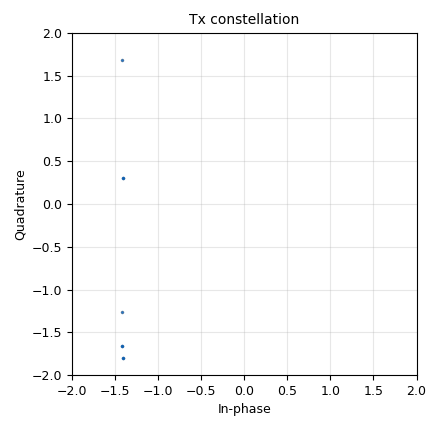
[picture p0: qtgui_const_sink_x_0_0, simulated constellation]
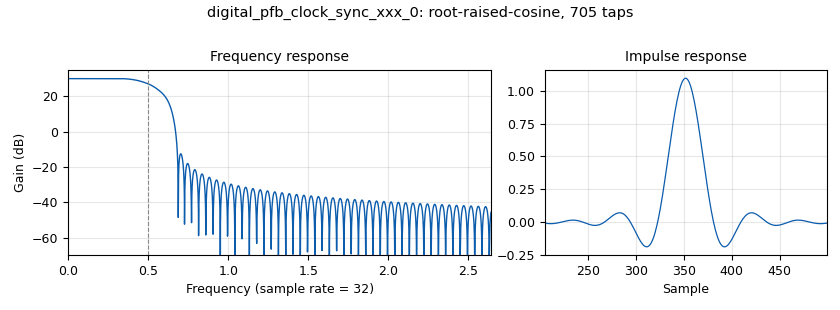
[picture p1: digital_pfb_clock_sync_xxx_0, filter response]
options:
  parameters:
    author: yabool2001
    copyright: mzemlo.pl@gmail.com
    description: QPSK demonstration test w. adalm-pluto
    generate_options: qt_gui
    id: QPSK_test_04_1
    output_language: python
    title: QPSK test 04_1 adalm-pluto
  states: {}

blocks:
- name: const_obj
  id: variable_constellation
  parameters:
    npwr: '0'
    precision: '8'
    type: qpsk
  states: {}
- name: f_o
  id: variable
  parameters:
    value: '820000000'
  states: {}
- name: nfilts
  id: variable
  parameters:
    value: '32'
  states: {}
- name: samp_rate
  id: variable
  parameters:
    value: '65105'
  states: {}
- name: sps
  id: variable
  parameters:
    value: '2'
  states: {}
- name: blocks_message_strobe_1
  id: blocks_message_strobe
  parameters:
    msg: pmt.cons ( pmt.PMT_NIL , pmt.make_u8vector ( 1 , 0x02 ) )
    period: '1000'
  states: {}
- name: blocks_repack_bits_bb_0
  id: blocks_repack_bits_bb
  parameters:
    align_output: 'True'
    endianness: gr.GR_LSB_FIRST
    k: '8'
    l: '2'
    len_tag_key: packet_len
  states: {}
- name: blocks_repack_bits_bb_1
  id: blocks_repack_bits_bb
  parameters:
    align_output: 'True'
    endianness: gr.GR_LSB_FIRST
    k: '2'
    l: '8'
    len_tag_key: packet_len
  states: {}
- name: blocks_stream_to_tagged_stream_0_0
  id: blocks_stream_to_tagged_stream
  parameters:
    len_tag_key: '"packet_len"'
    packet_len: '1'
    type: byte
  states: {}
- name: blocks_tag_debug_0
  id: blocks_tag_debug
  parameters:
    name: Modulator
    type: complex
  states: {}
- name: blocks_tag_debug_0_0
  id: blocks_tag_debug
  parameters:
    name: Constellation Decoder
    type: byte
  states: {}
- name: blocks_tag_debug_0_0_0
  id: blocks_tag_debug
  parameters:
    name: After Repack Bits Tx
    type: byte
  states: {}
- name: blocks_threshold_ff_0
  id: blocks_threshold_ff
  parameters:
    high: '100'
    init: '0'
    low: '-100'
  states: {state: disabled}
- name: blocks_throttle2_0
  id: blocks_throttle2
  parameters:
    samples_per_second: samp_rate
    type: complex
  states: {}
- name: digital_constellation_decoder_cb_1_0
  id: digital_constellation_decoder_cb
  parameters:
    constellation: const_obj
  states: {}
- name: digital_constellation_modulator_0
  id: digital_constellation_modulator
  parameters:
    constellation: const_obj
    differential: 'False'
    excess_bw: '0.35'
    log: 'True'
    samples_per_symbol: sps
    verbose: 'True'
  states: {}
- name: digital_costas_loop_cc_0
  id: digital_costas_loop_cc
  parameters:
    order: '4'
    w: '0.005'
  states: {}
- name: digital_pfb_clock_sync_xxx_0
  id: digital_pfb_clock_sync_xxx
  parameters:
    filter_size: '32'
    init_phase: '0'
    loop_bw: '0.01'
    max_dev: '1.5'
    osps: '1'
    sps: sps
    taps: firdes.root_raised_cosine(nfilts, nfilts, 1.0, 0.35, 11*sps*nfilts)
    type: ccf
  states: {}
- name: epy_block_1_0
  id: epy_block
  parameters:
    _source_code: |
      from gnuradio import gr
      import numpy as np
      import time
      import os

      class byte_logger(gr.sync_block):
          def __init__(self, samp_rate=32000, filename="byte_log.csv"):
              gr.sync_block.__init__(self,
                  name="BYTE FILE SINK",
                  in_sig=[np.uint8],
                  out_sig=None)
              self.filename = filename
              self.samp_rate = samp_rate
              self.start_time = time.time()

              file_exists = os.path.isfile(filename)
              self.f = open(filename, "w", encoding="utf-8")

              if not file_exists or os.stat(filename).st_size == 0:
                  self.f.write("timestamp;byte;samp_rate\n")

          def work(self, input_items, output_items):
              current_time = time.time()
              elapsed = current_time - self.start_time

              for i, b in enumerate(input_items[0]):
                  timestamp = elapsed + (i / self.samp_rate)
                  ts = f"{timestamp:.6f}".replace('.', ',')
                  val = str(b)
                  sr = f"{self.samp_rate:.0f}".replace('.', ',')
                  self.f.write(f"{ts};{val};{sr}\n")

              self.f.flush()
              return len(input_items[0])
    filename: '"04_byte_rx_qpsk_mod_log.csv"'
    samp_rate: samp_rate
  states: {}
- name: epy_block_1_0_0
  id: epy_block
  parameters:
    _source_code: |
      from gnuradio import gr
      import numpy as np
      import time
      import os

      class byte_logger(gr.sync_block):
          def __init__(self, samp_rate=32000, filename="byte_log.csv"):
              gr.sync_block.__init__(self,
                  name="BYTE FILE SINK",
                  in_sig=[np.uint8],
                  out_sig=None)
              self.filename = filename
              self.samp_rate = samp_rate
              self.start_time = time.time()

              file_exists = os.path.isfile(filename)
              self.f = open(filename, "w", encoding="utf-8")

              if not file_exists or os.stat(filename).st_size == 0:
                  self.f.write("timestamp;byte;samp_rate\n")

          def work(self, input_items, output_items):
              current_time = time.time()
              elapsed = current_time - self.start_time

              for i, b in enumerate(input_items[0]):
                  timestamp = elapsed + (i / self.samp_rate)
                  ts = f"{timestamp:.6f}".replace('.', ',')
                  val = str(b)
                  sr = f"{self.samp_rate:.0f}".replace('.', ',')
                  self.f.write(f"{ts};{val};{sr}\n")

              self.f.flush()
              return len(input_items[0])
    filename: '"01_byte_tx_qpsk_mod_log.csv"'
    samp_rate: samp_rate
  states: {}
- name: epy_block_1_0_0_0
  id: epy_block
  parameters:
    _source_code: |
      from gnuradio import gr
      import numpy as np
      import time
      import os

      class byte_logger(gr.sync_block):
          def __init__(self, samp_rate=32000, filename="byte_log.csv"):
              gr.sync_block.__init__(self,
                  name="BYTE FILE SINK",
                  in_sig=[np.uint8],
                  out_sig=None)
              self.filename = filename
              self.samp_rate = samp_rate
              self.start_time = time.time()

              file_exists = os.path.isfile(filename)
              self.f = open(filename, "w", encoding="utf-8")

              if not file_exists or os.stat(filename).st_size == 0:
                  self.f.write("timestamp;byte;samp_rate\n")

          def work(self, input_items, output_items):
              current_time = time.time()
              elapsed = current_time - self.start_time

              for i, b in enumerate(input_items[0]):
                  timestamp = elapsed + (i / self.samp_rate)
                  ts = f"{timestamp:.6f}".replace('.', ',')
                  val = str(b)
                  sr = f"{self.samp_rate:.0f}".replace('.', ',')
                  self.f.write(f"{ts};{val};{sr}\n")

              self.f.flush()
              return len(input_items[0])
    filename: '"02_byte_tx_qpsk_mod_log.csv"'
    samp_rate: samp_rate
  states: {}
- name: epy_block_1_0_0_0_0
  id: epy_block
  parameters:
    _source_code: |
      from gnuradio import gr
      import numpy as np
      import time
      import os

      class byte_logger(gr.sync_block):
          def __init__(self, samp_rate=32000, filename="byte_log.csv"):
              gr.sync_block.__init__(self,
                  name="BYTE FILE SINK",
                  in_sig=[np.uint8],
                  out_sig=None)
              self.filename = filename
              self.samp_rate = samp_rate
              self.start_time = time.time()

              file_exists = os.path.isfile(filename)
              self.f = open(filename, "w", encoding="utf-8")

              if not file_exists or os.stat(filename).st_size == 0:
                  self.f.write("timestamp;byte;samp_rate\n")

          def work(self, input_items, output_items):
              current_time = time.time()
              elapsed = current_time - self.start_time

              for i, b in enumerate(input_items[0]):
                  timestamp = elapsed + (i / self.samp_rate)
                  ts = f"{timestamp:.6f}".replace('.', ',')
                  val = str(b)
                  sr = f"{self.samp_rate:.0f}".replace('.', ',')
                  self.f.write(f"{ts};{val};{sr}\n")

              self.f.flush()
              return len(input_items[0])
    filename: '"03_byte_rx_qpsk_mod_log.csv"'
    samp_rate: samp_rate
  states: {}
- name: pdu_pdu_to_tagged_stream_0
  id: pdu_pdu_to_tagged_stream
  parameters:
    tag: packet_len
    type: byte
  states: {}
- name: qtgui_const_sink_x_0_0
  id: qtgui_const_sink_x
  parameters:
    name: '"Tx constellation"'
    size: 4*sps
    type: complex
  states: {}
- name: qtgui_time_sink_x_0_0
  id: qtgui_time_sink_x
  parameters:
    name: '"Tx Time"'
    size: 4*sps
    srate: samp_rate
    type: complex
    ymax: '2'
    ymin: '-2'
  states: {state: disabled}

connections:
- [blocks_message_strobe_1, strobe, pdu_pdu_to_tagged_stream_0, pdus]
- [blocks_repack_bits_bb_0, '0', blocks_tag_debug_0_0_0, '0']
- [blocks_repack_bits_bb_0, '0', digital_constellation_modulator_0, '0']
- [blocks_repack_bits_bb_0, '0', epy_block_1_0_0_0, '0']
- [blocks_repack_bits_bb_1, '0', epy_block_1_0, '0']
- [blocks_stream_to_tagged_stream_0_0, '0', blocks_repack_bits_bb_1, '0']
- [blocks_throttle2_0, '0', blocks_tag_debug_0, '0']
- [blocks_throttle2_0, '0', digital_pfb_clock_sync_xxx_0, '0']
- [digital_constellation_decoder_cb_1_0, '0', blocks_stream_to_tagged_stream_0_0, '0']
- [digital_constellation_decoder_cb_1_0, '0', blocks_tag_debug_0_0, '0']
- [digital_constellation_decoder_cb_1_0, '0', epy_block_1_0_0_0_0, '0']
- [digital_constellation_modulator_0, '0', blocks_throttle2_0, '0']
- [digital_constellation_modulator_0, '0', qtgui_const_sink_x_0_0, '0']
- [digital_constellation_modulator_0, '0', qtgui_time_sink_x_0_0, '0']
- [digital_costas_loop_cc_0, '0', digital_constellation_decoder_cb_1_0, '0']
- [digital_pfb_clock_sync_xxx_0, '0', digital_costas_loop_cc_0, '0']
- [pdu_pdu_to_tagged_stream_0, '0', blocks_repack_bits_bb_0, '0']
- [pdu_pdu_to_tagged_stream_0, '0', epy_block_1_0_0, '0']

metadata:
  file_format: 1
  grc_version: 3.10.12.0
